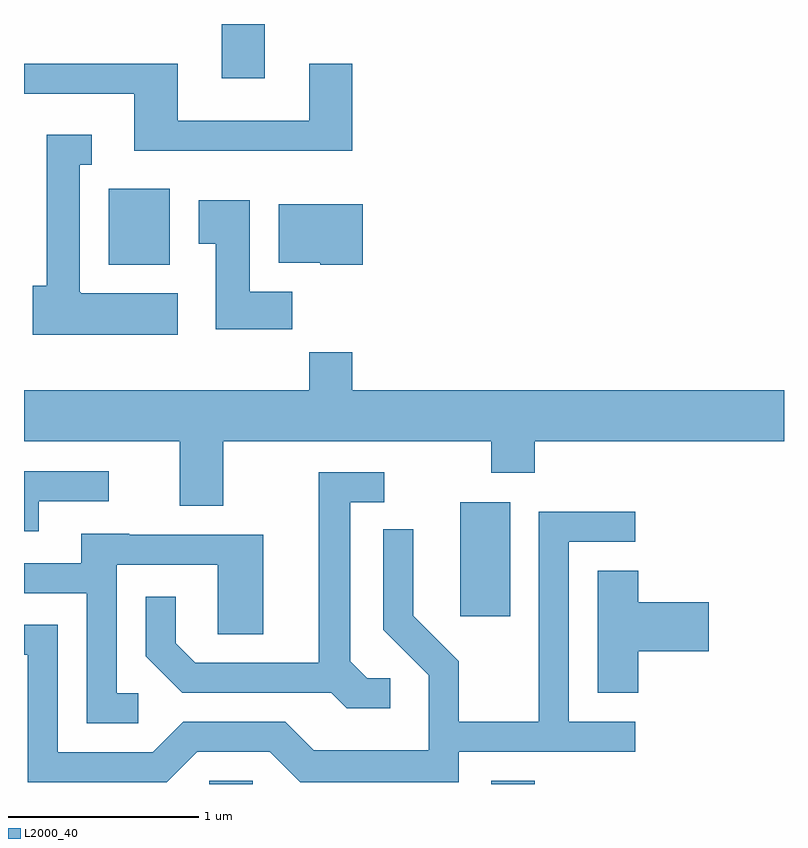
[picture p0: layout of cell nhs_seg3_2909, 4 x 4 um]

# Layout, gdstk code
import gdstk
lib = gdstk.Library(unit=1e-6, precision=1e-09)
def R(c, l, rs):  # rectangles x0, y0, x1, y1
    for r in rs: c.add(gdstk.rectangle(r[:2], r[2:], *l))
def P(c, l, *ps):  # polygons
    for p in ps: c.add(gdstk.Polygon(p, *l))
L2000_40 = (2000, 40)

nhs_seg3_2909 = lib.new_cell('nhs_seg3_2909')
R(nhs_seg3_2909, L2000_40, [(270.586,1221.892,270.814,1221.909), (272.071,1221.892,272.299,1221.909), (271.906,1222.776,272.169,1223.374), (270.056,1224.626,270.379,1225.024), (270.651,1225.606,270.879,1225.892)])
P(nhs_seg3_2909, L2000_40, [(271.339,1225.684),(271.111,1225.684),(271.111,1225.384),(270.419,1225.384),(270.419,1225.684),(269.611,1225.684),(269.611,1225.526),(270.191,1225.526),(270.191,1225.226),(271.339,1225.226)],
  [(270.419,1224.474),(269.91,1224.474),(269.91,1224.48),(269.904,1224.48),(269.904,1225.151),(269.968,1225.151),(269.968,1225.309),(269.731,1225.309),(269.731,1224.514),(269.656,1224.514),(269.656,1224.256),(270.419,1224.256)],
  [(271.024,1224.484),(270.799,1224.484),(270.799,1224.964),(270.531,1224.964),(270.531,1224.736),(270.621,1224.736),(270.621,1224.286),(271.024,1224.286)],
  [(271.394,1224.944),(270.951,1224.944),(270.951,1224.636),(271.17,1224.636),(271.17,1224.626),(271.394,1224.626)],
  [(270.659,1223.696),(272.071,1223.696),(272.071,1223.531),(272.299,1223.531),(272.299,1223.696),(273.611,1223.696),(273.611,1223.964),(271.339,1223.964),(271.339,1224.164),(271.111,1224.164),(271.111,1223.964),(269.611,1223.964),(269.611,1223.696),(270.431,1223.696),(270.431,1223.356),(270.659,1223.356)],
  [(269.689,1223.381),(270.058,1223.381),(270.058,1223.539),(269.611,1223.539),(269.611,1223.221),(269.689,1223.221)],
  [(271.538,1222.449),(271.417,1222.449),(271.329,1222.537),(271.329,1223.376),(271.508,1223.376),(271.508,1223.534),(271.161,1223.534),(271.161,1222.529),(270.512,1222.529),(270.409,1222.632),(270.409,1222.878),(270.251,1222.878),(270.251,1222.564),(270.444,1222.371),(271.229,1222.371),(271.309,1222.291),(271.538,1222.291)],
  [(270.522,1222.061),(270.904,1222.061),(271.064,1221.901),(271.899,1221.901),(271.899,1222.061),(272.828,1222.061),(272.828,1222.219),(272.479,1222.219),(272.479,1223.166),(272.828,1223.166),(272.828,1223.324),(272.321,1223.324),(272.321,1222.219),(271.899,1222.219),(271.899,1222.537),(271.659,1222.777),(271.659,1223.233),(271.501,1223.233),(271.501,1222.704),(271.741,1222.464),(271.741,1222.069),(271.137,1222.069),(270.987,1222.219),(270.449,1222.219),(270.289,1222.059),(269.789,1222.059),(269.789,1222.729),(269.611,1222.729),(269.611,1222.571),(269.631,1222.571),(269.631,1221.901),(270.362,1221.901)],
  [(270.213,1222.369),(270.099,1222.369),(270.099,1223.046),(270.631,1223.046),(270.631,1222.681),(270.869,1222.681),(270.869,1223.204),(270.165,1223.204),(270.165,1223.209),(269.911,1223.209),(269.911,1223.054),(269.611,1223.054),(269.611,1222.896),(269.941,1222.896),(269.941,1222.211),(270.213,1222.211)],
  [(272.844,1222.591),(273.214,1222.591),(273.214,1222.849),(272.844,1222.849),(272.844,1223.014),(272.631,1223.014),(272.631,1222.371),(272.844,1222.371)])

lib.write_gds('nhs_seg3_2909.gds')
